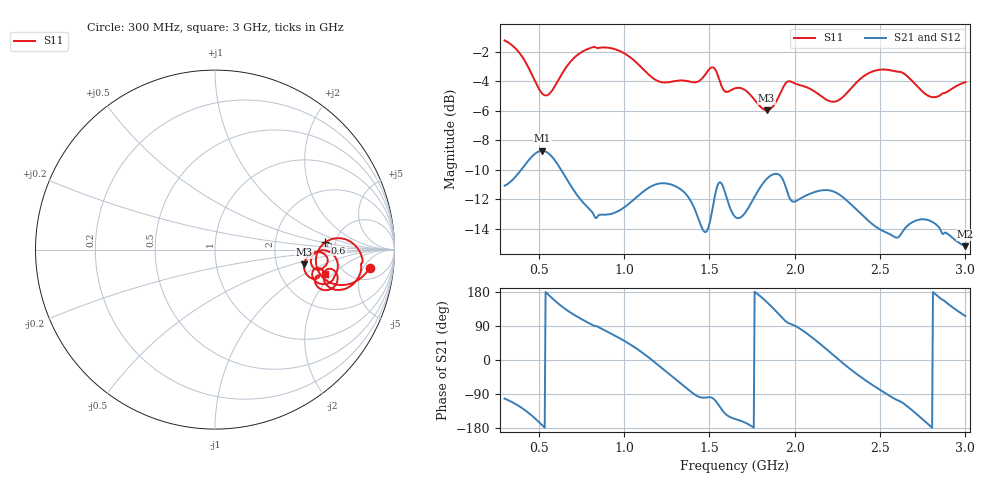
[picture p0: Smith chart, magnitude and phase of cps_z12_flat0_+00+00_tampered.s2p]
! cps_z12_flat0_+00+00_tampered
! simulated by sim/fixtures_fdtd.py (S12 = S21, S22 not computed)
# HZ S RI R 50
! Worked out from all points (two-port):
!   541 points, 300 MHz to 3 GHz, reference 50 ohm
!   highest |S21| = -8.71 dB at 520 MHz (marker M1); lowest = -15.2 dB at 3 GHz (marker M2)
!   |S21| within 3 dB of the highest: start of sweep to 725 MHz; 1.088 GHz to 1.367 GHz (279.7 MHz wide, 22.8 % of centre) (the widest 2 of 5)
!   lowest |S11| = -6.0 dB at 1.835 GHz (marker M3), VSWR 3.03, Z = 143 - j31.8 ohm
!   |S11| at or under -10 dB: nowhere
!   |S22| runs from - to - dB; largest |S21 - S12| = 0
!   S11 on the Smith chart (normalised r, x): 300 MHz: 8, -7; 600 MHz: 4.12, +0.53; 3 GHz: 3.57, -1.62
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3e8  0.8617 -0.1007  -0.0565 -0.2738  -0.0565 -0.2738  0 0
4.25e8  0.7014 -0.1977  -0.2317 -0.2379  -0.2317 -0.2379  0 0
5.2e8  0.5661 -0.0933  -0.3633 -0.0517  -0.3633 -0.0517  0 0
6e8  0.6138 0.04  -0.304 0.146  -0.304 0.146  0 0
7.5e8  0.7913 0.0114  -0.077 0.2367  -0.077 0.2367  0 0
8.35e8  0.8173 -0.0759  0.00268 0.217  0.00268 0.217  0 0
1.025e9  0.7388 -0.2129  0.1738 0.1683  0.1738 0.1683  0 0
1.2e9  0.6076 -0.1726  0.276 -0.0662  0.276 -0.0662  0 0
1.365e9  0.6183 -0.135  0.0703 -0.2512  0.0703 -0.2512  0 0
1.48e9  0.6611 -0.1142  -0.0302 -0.1926  -0.0302 -0.1926  0 0
1.55e9  0.62 -0.2261  -0.1246 -0.2531  -0.1246 -0.2531  0 0
1.65e9  0.5793 -0.1452  -0.2 -0.0904  -0.2 -0.0904  0 0
1.835e9  0.4967 -0.0826  -0.2635 0.1313  -0.2635 0.1313  0 0
1.925e9  0.5898 -0.0156  -0.1113 0.2756  -0.1113 0.2756  0 0
1.985e9  0.6209 -0.0838  -0.0149 0.247  -0.0149 0.247  0 0
2.1e9  0.5798 -0.1127  0.1318 0.2287  0.1318 0.2287  0 0
2.265e9  0.5473 -0.0292  0.2599 -0.00885  0.2599 -0.00885  0 0
2.395e9  0.6501 -0.0202  0.1508 -0.1636  0.1508 -0.1636  0 0
2.55e9  0.6776 -0.1258  -0.01 -0.1922  -0.01 -0.1922  0 0
2.675e9  0.6147 -0.1918  -0.1276 -0.164  -0.1276 -0.164  0 0
2.785e9  0.5426 -0.1489  -0.2107 -0.0346  -0.2107 -0.0346  0 0
3e9  0.6114 -0.138  -0.0759 0.1571  -0.0759 0.1571  0 0
